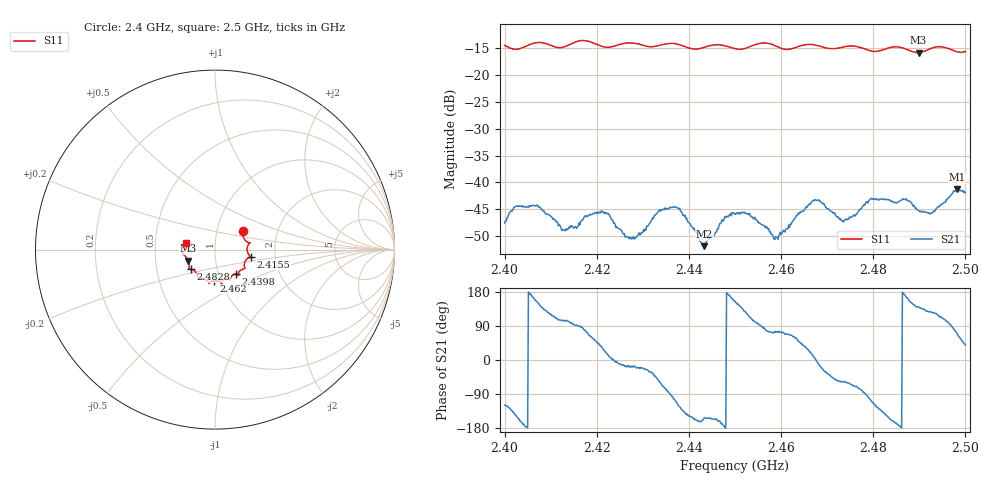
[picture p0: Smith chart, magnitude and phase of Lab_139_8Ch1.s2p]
# Hz S RI R 50
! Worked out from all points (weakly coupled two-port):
!   601 points, 2.4 GHz to 2.5 GHz, reference 50 ohm
!   highest |S21| = -41.27 dB at 2.4982 GHz (marker M1); lowest = -51.8 dB at 2.4433 GHz (marker M2)
!   lowest |S11| = -15.9 dB at 2.4898 GHz (marker M3), VSWR 1.38, Z = 36.8 - j4.62 ohm
!   |S11| at or under -10 dB: start of sweep to end of sweep
!   S12 and S22 are empty: the file has one direction only
!   S11 on the Smith chart (normalised r, x): 2.4 GHz: 1.33, +0.29; 2.4155 GHz: 1.49, -0.12; 2.4398 GHz: 1.21, -0.34; 2.462 GHz: 0.93, -0.33; 2.4828 GHz: 0.74, -0.17; 2.5 GHz: 0.72, +0.06
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2.4e9  0.1547 0.1055  -0.00206 -0.00366  0 0  0 0
2.4065e9  0.1934 0.0381  -0.00568 0.00217  0 0  0 0
2.412667e9  0.1799 -0.00905  -0.000974 0.00353  0 0  0 0
2.4155e9  0.1985 -0.0394  -0.000152 0.00381  0 0  0 0
2.416667e9  0.2034 -0.043  0.000127 0.00444  0 0  0 0
2.4215e9  0.1715 -0.0591  0.00475 0.00242  0 0  0 0
2.428e9  0.1664 -0.1048  0.003 -0.000918  0 0  0 0
2.433333e9  0.1296 -0.1338  0.00325 -0.00425  0 0  0 0
2.4375e9  0.1304 -0.1418  -0.00252 -0.00523  0 0  0 0
2.439833e9  0.115 -0.1358  -0.0036 -0.00232  0 0  0 0
2.443333e9  0.0872 -0.1575  -0.00226 -0.00119  0 0  0 0
2.45e9  0.0655 -0.1621  -0.00457 0.00218  0 0  0 0
2.458833e9  0.0321 -0.1824  0.000894 0.003  0 0  0 0
2.462e9  -0.00564 -0.1731  0.00171 0.00373  0 0  0 0
2.466667e9  -0.0348 -0.1879  0.00637 0.00175  0 0  0 0
2.4735e9  -0.0852 -0.1598  0.00229 -0.00362  0 0  0 0
2.482833e9  -0.1364 -0.1091  -0.00578 -0.00387  0 0  0 0
2.483333e9  -0.1403 -0.1088  -0.00605 -0.00328  0 0  0 0
2.489833e9  -0.1483 -0.0611  -0.0042 0.00354  0 0  0 0
2.492833e9  -0.1752 -0.0277  -0.00304 0.00429  0 0  0 0
2.498167e9  -0.1633 0.00785  0.00292 0.00813  0 0  0 0
2.5e9  -0.1595 0.0395  0.00621 0.00506  0 0  0 0
